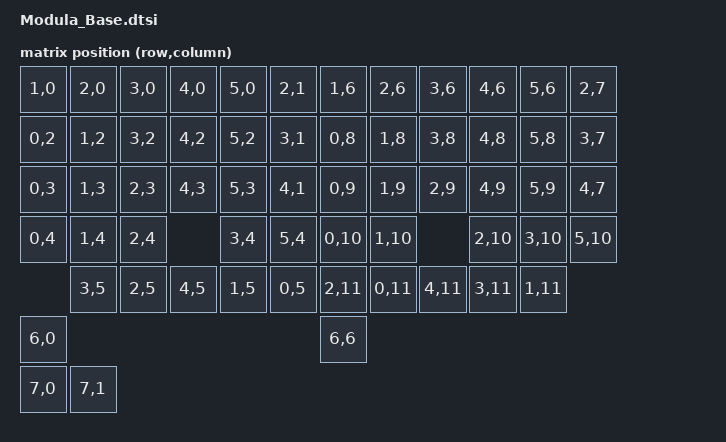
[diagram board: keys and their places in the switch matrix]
#include <dt-bindings/zmk/input_transform.h>
#include <dt-bindings/zmk/matrix_transform.h>
#include <behaviors/rgbled_widget.dtsi>

#include "Modula_Layout.dtsi"

// Conversion from xiao_d to gpio0/gpio1 pin numbering
    // 	<&xiao_d 0  <-> &gpio0 2 0>   /* D0 */
    // 	<&xiao_d 1  <-> &gpio0 3 0>   /* D1 */
    // 	<&xiao_d 2  <-> &gpio0 28 0>  /* D2 */
    // 	<&xiao_d 3  <-> &gpio0 29 0>  /* D3 */
    // 	<&xiao_d 4  <-> &gpio0 4 0>   /* D4 */
    // 	<&xiao_d 5  <-> &gpio0 5 0>   /* D5 */
    // 	<&xiao_d 6  <-> &gpio1 11 0>  /* D6 */
    // 	<&xiao_d 7  <-> &gpio1 12 0>  /* D7 */
    // 	<&xiao_d 8  <-> &gpio1 13 0>  /* D8 */
    // 	<&xiao_d 9  <-> &gpio1 14 0>  /* D9 */
    // 	<&xiao_d 10 <-> &gpio1 15 0>  /* D10 */

// Xiao serial nodes info
// &xiao_spi {status = "disabled";};    // &spi2 {}
// &xiao_i2c {status = "disabled";};    // &i2c1 {};
// &xiao_serial {status = "disabled";};   // &uart0 {};
// &xiao_adc {status = "disabled";};    // &adc {};

/ {
  // aliases {
  //   led-red = &led0;
  //   led-green = &led1;
  //   led-blue = &led2;
  // };

  chosen {
    zmk,physical-layout = &physical_layout0;
    zmk,kscan = &kscan0;
  };
   
  position_map {
    compatible = "zmk,physical-layout-position-map";
    layout_default: layout_default {
      physical-layout = <&physical_layout0>;
      positions
        = <0  1  2  3  4  5     6  7  8  9  10 11>
        , <12 13 14 15 16 17    18 19 20 21 22 23>
        , <24 25 26 27 28 29    30 31 32 33 34 35>
        , <36 37 38    39 40    41 42    43 44 45>
        , <   46 47 48 49 50    51 52 53 54 55>
        , <56                   57>
#ifdef MODULA_MOUSE_UNIT
        , <58 59>
#endif
        ;
    };
  };

  default_transform: keymap_transform_0 {
    compatible = "zmk,matrix-transform";
    columns = <12>;
    rows = <8>;
    
    map = <
        /* standard keys */
        RC( 1, 0)  RC( 2, 0)  RC( 3, 0)  RC( 4, 0)  RC( 5, 0)  RC( 2, 1)     RC( 1, 6)  RC( 2, 6)  RC( 3, 6)  RC( 4, 6)  RC( 5, 6)  RC( 2, 7)
        RC( 0, 2)  RC( 1, 2)  RC( 3, 2)  RC( 4, 2)  RC( 5, 2)  RC( 3, 1)     RC( 0, 8)  RC( 1, 8)  RC( 3, 8)  RC( 4, 8)  RC( 5, 8)  RC( 3, 7)
        RC( 0, 3)  RC( 1, 3)  RC( 2, 3)  RC( 4, 3)  RC( 5, 3)  RC( 4, 1)     RC( 0, 9)  RC( 1, 9)  RC( 2, 9)  RC( 4, 9)  RC( 5, 9)  RC( 4, 7)
        RC( 0, 4)  RC( 1, 4)  RC( 2, 4)             RC( 3, 4)  RC( 5, 4)     RC( 0,10)  RC( 1,10)             RC( 2,10)  RC( 3,10)  RC( 5,10)
        /* 5 directional keys */
                   RC( 3, 5)  RC( 2, 5)  RC( 4, 5)  RC( 1, 5)  RC( 0, 5)     RC( 2,11)  RC( 0,11)  RC( 4,11)  RC( 3,11)  RC( 1,11)
        /* additional(module) keys */
        RC( 6, 0)                                                            RC( 6, 6)
#ifdef MODULA_MOUSE_UNIT
        /* Left mouse unit: IO1, IO2 (positions 58, 59). */
        RC( 7, 0) RC( 7, 1)
#endif
    >;
  };

  // Kscan
  kscan0: kscan0 {
    compatible = "zmk,kscan-composite";
    wakeup-source;
    matrix {
        kscan = <&kscan1>;
    };
    direct {
        row-offset = <6>;
        kscan = <&kscan2>;
    };
  };

  kscan1: kscan1 {
    compatible = "zmk,kscan-gpio-charlieplex";
    interrupt-gpios = <&gpio1 11 (GPIO_ACTIVE_HIGH)>;
    gpios
      = <&gpio0  2 (GPIO_ACTIVE_HIGH)>
      , <&gpio0  3 (GPIO_ACTIVE_HIGH)>
      , <&gpio0 28 (GPIO_ACTIVE_HIGH)>
      , <&gpio0 29 (GPIO_ACTIVE_HIGH)>
      , <&gpio0  9 (GPIO_ACTIVE_HIGH)>
      , <&gpio0 10 (GPIO_ACTIVE_HIGH)>
      ;
  };
    
  kscan2: kscan2 {
    compatible = "zmk,kscan-mock";
    columns = <0>;
    rows = <0>;
    events = <0>;
  };

  // LEDs
  // leds {
  //   compatible = "gpio-leds";
  //   status = "okay";
  //   led0: led_0 {
  //     gpios = <&gpio0 26 GPIO_ACTIVE_LOW>;  // red LED, connected to P0.26
  //   };
  //   led1: led_1 {
  //     gpios = <&gpio0 30 GPIO_ACTIVE_LOW>;  // green LED, connected to P0.30
  //   };
  //   led2: led_2 {
  //     gpios = <&gpio0 6 GPIO_ACTIVE_LOW>;  // blue LED, connected to P0.06
  //   };
  // };

   // Encoders
   left_encoder: left-encoder {
      compatible = "alps,ec11";
      status = "disabled";
   };

   right_encoder: right-encoder {
      compatible = "alps,ec11";
      status = "disabled";
   };

   sensors: sensors {
      compatible = "zmk,keymap-sensors";
      sensors = <&right_encoder &left_encoder>;
      triggers-per-rotation = <30>;
   };
};

// &uicr {
//     nfct-pins-as-gpios;
// };

&xiao_spi {status = "disabled";};    // &spi2 {}
// &xiao_i2c {status = "disabled";};    // &i2c1 {};
&xiao_serial {status = "disabled";};   // &uart0 {};
// &xiao_adc {status = "disabled";};    // &adc {};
